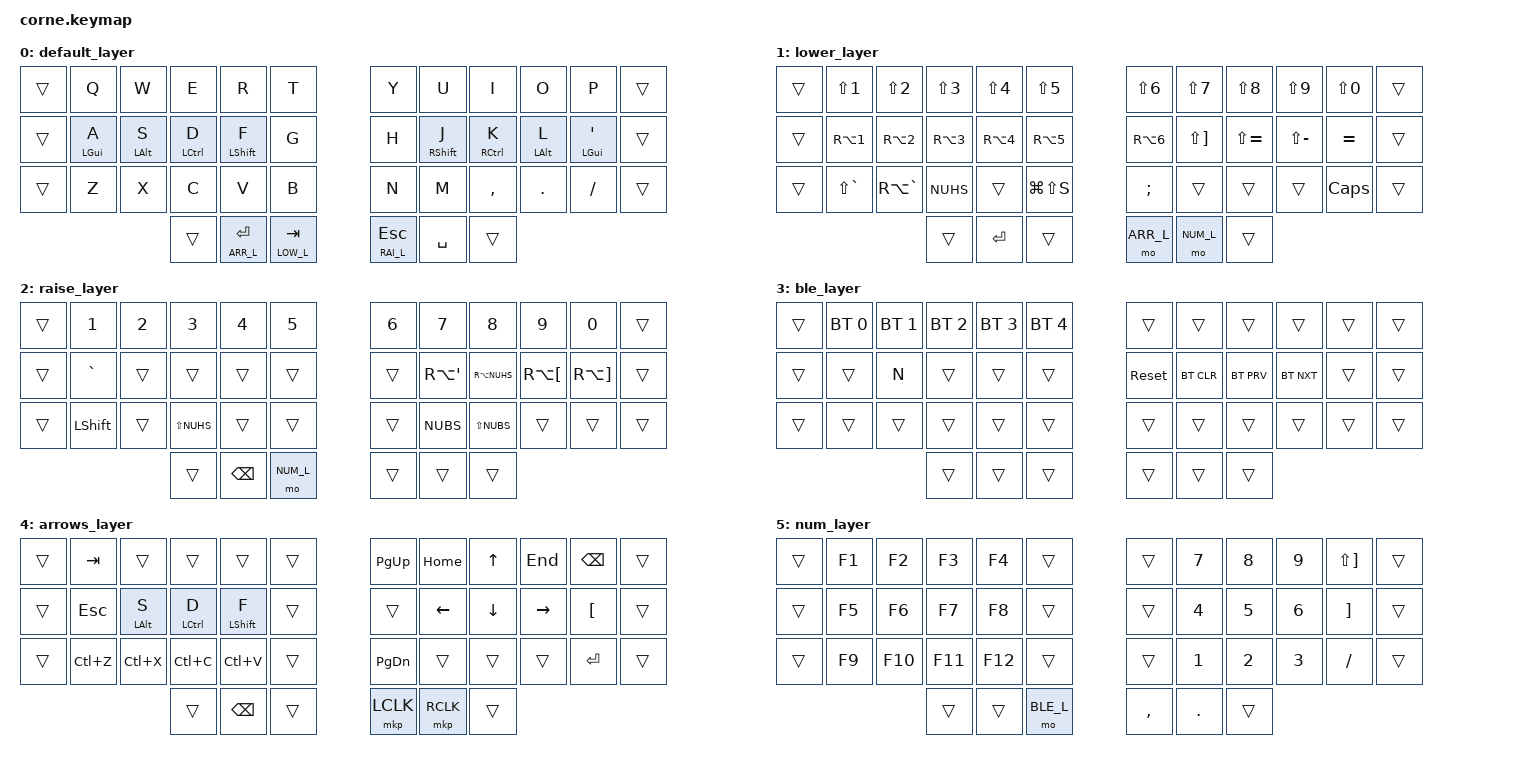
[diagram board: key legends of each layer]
// Copyright (c) 2022 The ZMK Contributors
// SPDX-License-Identifier: MIT

#include <behaviors.dtsi>
#include <dt-bindings/zmk/keys.h>
#include <dt-bindings/zmk/bt.h>
#include <dt-bindings/zmk/pointing.h>

#define CAPW &kp LG(LS(N3)) // Capture whole screen 
#define CPYW &kp LG(LS(LC(N3))) // Copy whole screen 
#define CAPP &kp LG(LS(N4)) // Capture portion of screen   
#define CPYP &kp LG(LS(LC(N4))) // Copy portion of screen

//intellij shortcuts
#define RENAME &kp LS(F6)
#define IMPOR &kp LA(LC(O))
#define GENER &kp LG(N)
#define COMPI &kp LG(F9)
#define SEARCH &kp LS(LG((R)))
#define OPEN &kp LG(O)

#define DEF_L 0
#define LOW_L 1
#define RAI_L 2
#define BLE_L 3
#define ARR_L 4
#define NUM_L 5

    &lt {
	    tapping-term-ms = <200>;
    };

/ {
	behaviors {
		ht: hold_tap_mods_standard {
			compatible = "zmk,behavior-hold-tap";
			label = "HOMEROW_MODS";
			#binding-cells = <2>;
			tapping-term-ms = <400>;
			quick-tap-ms = <300>;
			flavor = "tap-preferred";
			bindings = <&kp>, <&kp>;
		};
        
        // hold-tap fast
		htf: hold_tap_mods_fast {
			compatible = "zmk,behavior-hold-tap";
			label = "HOMEROW_MODS";
			#binding-cells = <2>;
			tapping-term-ms = <180>;
			quick-tap-ms = <300>;
			flavor = "tap-preferred";
			bindings = <&kp>, <&kp>;
		};

        // hold-tap slow
		hts: hold_tap_mods_slow {
			compatible = "zmk,behavior-hold-tap";
			label = "HOMEROW_MODS";
			#binding-cells = <2>;
			tapping-term-ms = <450>;
			quick-tap-ms = <200>;
			flavor = "tap-preferred";
			bindings = <&kp>, <&kp>;
		};
	};

    combos {
		compatible = "zmk,combos";
		combo_cntrl_alt_supr {
			timeout-ms = <50>;
			key-positions = <6 7 8>;
			bindings = <&kp LA(LC(DEL))>;
		};
		combo_grave {
			timeout-ms = <50>;
			key-positions = <9 10>;
			bindings = <&kp LBKT>;
		};
		combo_apostrof {
			timeout-ms = <50>;
			key-positions = <18 19>;
			bindings = <&kp MINUS>;
		};
		combo_tab {
			timeout-ms = <50>;
			key-positions = <2 3>;
			bindings = <&kp TAB>;
		};
		combo_esc {
			timeout-ms = <50>;
			key-positions = <14 15>;
			bindings = <&kp ESC>;
		};
		combo_enter {
			timeout-ms = <50>;
			key-positions = <19 20>;
			bindings = <&kp ENTER>;
		};
		combo_supr {
			timeout-ms = <50>;
			key-positions = <8 9>;
			bindings = <&kp BKSP>;
		};
		combo_delete {
			timeout-ms = <50>;
			key-positions = <7 8>;
			bindings = <&kp DEL>;
		};
    };

    keymap {
        compatible = "zmk,keymap";

		default_layer {
			bindings = <
				&trans			&kp Q			&kp W		 	&kp E		 	&kp R		   	&kp T					&kp Y			&kp U		  	&kp I			&kp O			&kp P			&trans
				&trans			&hts LGUI A		&hts LALT S	 	&hts LCTRL D 		&htf LSHIFT F  		&kp G					&kp H			&htf RSHIFT J  		&hts RCTRL K		&hts LALT L		&hts LGUI QUOT			&trans
				&trans			&kp Z			&kp X		 	&kp C		 	&kp V		   	&kp B					&kp N			&kp M		  	&kp COMMA		&kp DOT			&kp FSLH			&trans
													&trans			&lt ARR_L ENTER		&lt LOW_L TAB				&lt RAI_L ESC		&kp SPACE			&trans
			>;
		};


		lower_layer {
			bindings = <
				&trans			&kp LS(N1)		&kp LS(N2)	  	&kp LS(N3)		&kp LS(N4)		&kp LS(N5)	  			&kp LS(N6)		&kp LS(N7)		&kp LS(N8)		&kp LS(N9)		&kp LS(N0)			&trans
				&trans			&kp RA(N1)		&kp RA(N2)  		&kp RA(N3)		&kp RA(N4)		&kp RA(N5)				&kp RA(N6)		&kp LS(RBKT)		&kp LS(EQUAL)		&kp LS(MINUS) 		&kp EQUAL			&trans
				&trans			&kp LS(GRAVE)		&kp RA(GRAVE)		&kp NUHS		&trans			&kp LG(LS(S))				&kp SEMI		&trans			&trans			&trans			&kp CAPS			&trans
													&trans			&kp ENTER		&trans					&mo ARR_L		&mo NUM_L 			&trans
			>;
		};

		raise_layer {
			bindings = <
				&trans			&kp N1			&kp N2		  	&kp N3			&kp N4			&kp N5		  			&kp N6			&kp N7			&kp N8			&kp N9			&kp N0			&trans
				&trans			&kp GRAVE		&trans			&trans			&trans			&trans					&trans			&kp RA(APOS)	        &kp RA(NUHS)		&kp RA(LBKT)		&kp RA(RBKT)				&trans		
				&trans			&kp LSHIFT		&trans			&kp LS(NUHS)	        &trans			&trans					&trans			&kp NUBS		&kp LS(NUBS)		&trans			&trans			&trans
													&trans			&kp BKSP		&mo NUM_L				&trans			&trans					&trans
			>;
		};

		ble_layer {
			bindings = <
				&trans			&bt BT_SEL 0		&bt BT_SEL 1		&bt BT_SEL 2		&bt BT_SEL 3		&bt BT_SEL 4				&trans			&trans			&trans			&trans			&trans			&trans
				&trans			&trans			&kp N			&trans			&trans			&trans					&sys_reset		&bt BT_CLR		&bt BT_PRV		&bt BT_NXT		&trans			&trans
				&trans			&trans			&trans			&trans			&trans			&trans					&trans			&trans			&trans			&trans			&trans			&trans
													&trans			&trans 			&trans					&trans			&trans			&trans
			>;
		};

		arrows_layer {
			bindings = <
				&trans			&kp TAB			&trans			&trans			&trans			&trans					&kp PAGE_UP		&kp HOME		&kp UP			&kp END			&kp BKSP			&trans
				&trans			&kp ESC			&ht LALT S	 	&ht LCTRL D 		&ht LSHIFT F  		&trans					&trans			&kp LEFT		&kp DOWN		&kp RIGHT		&kp LBKT			&trans
				&trans			&kp LC(Z)		&kp LC(X)		&kp LC(C)		&kp LC(V)		&trans					&kp PAGE_DOWN		&trans			&trans			&trans			&kp ENTER			&trans
													&trans			&kp BKSP  		&trans 					&mkp LCLK		&mkp RCLK			&trans
			>;
		};

		num_layer {
			bindings = <
				&trans			&kp F1	  		&kp F2			&kp F3			&kp F4			&trans					&trans			&kp N7			&kp N8			&kp N9			&kp LS(RBKT)			&trans
				&trans			&kp F5			&kp F6			&kp F7			&kp F8			&trans					&trans			&kp N4			&kp N5			&kp N6			&kp RBKT			&trans
				&trans			&kp F9			&kp F10			&kp F11			&kp F12			&trans					&trans			&kp N1			&kp N2			&kp N3			&kp FSLH			&trans
													&trans			&trans 			&mo BLE_L					&kp COMMA		&kp DOT			&trans
			>;
		};

    };
};
